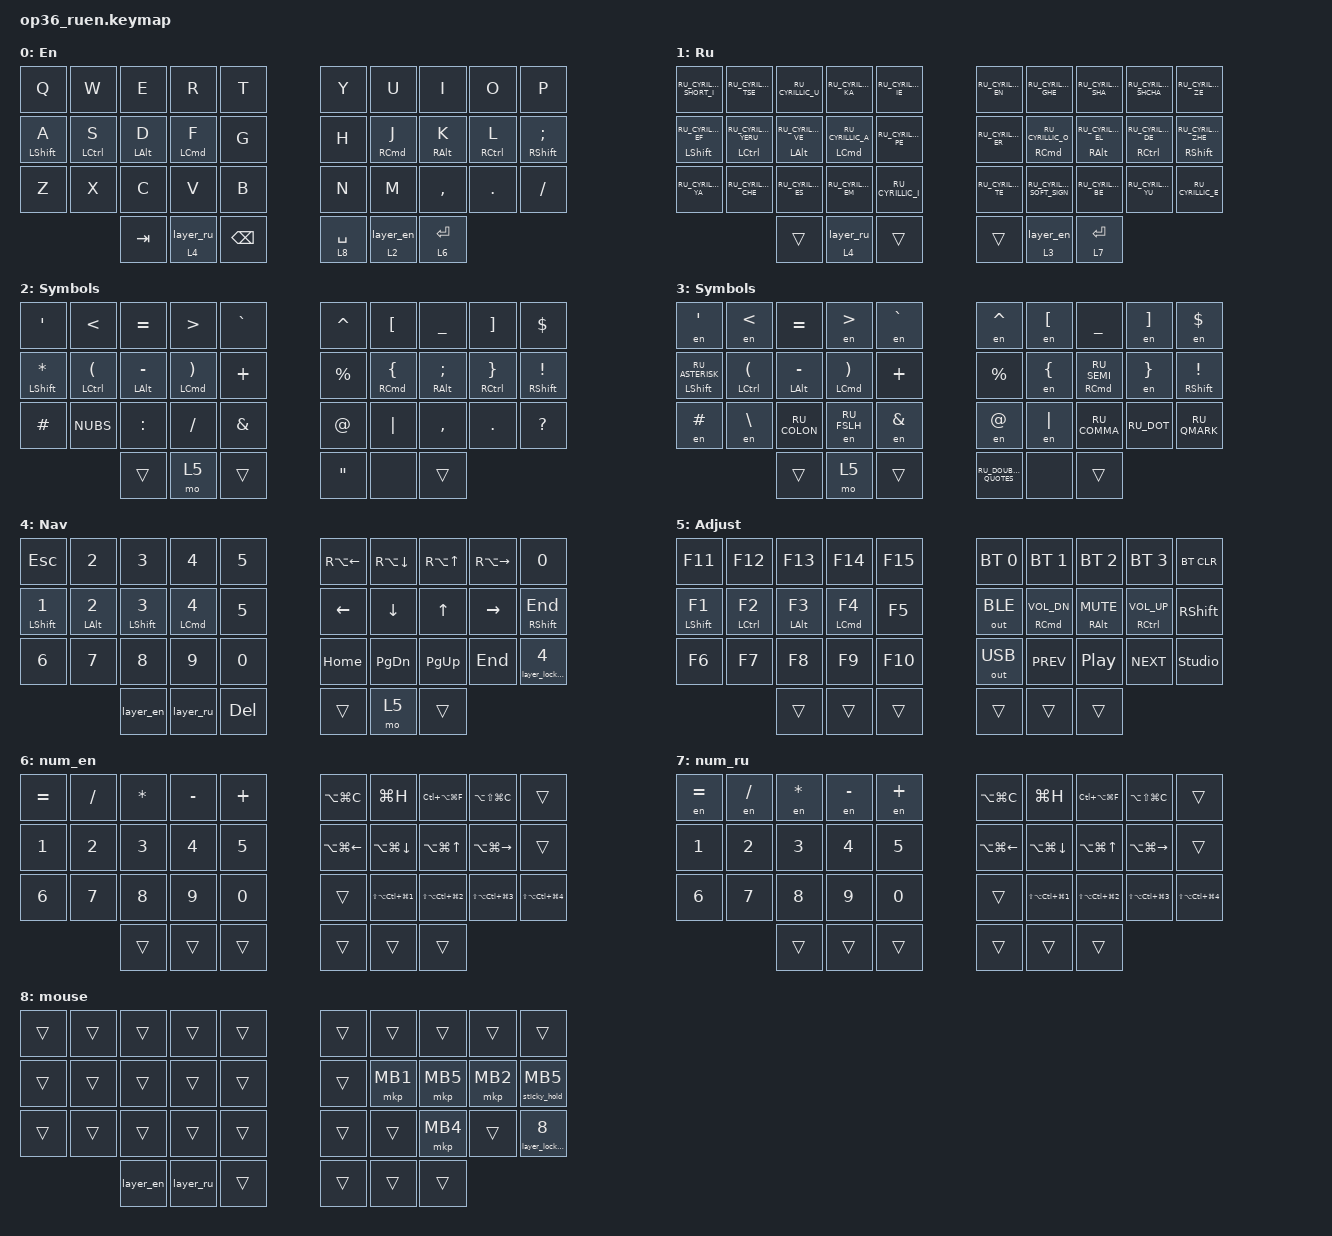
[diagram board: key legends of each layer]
#include "keys_ru.h"
#include "keys_ru.h"
#include <behaviors.dtsi>
#include <dt-bindings/zmk/bt.h>
#include <dt-bindings/zmk/keys.h>
#include <dt-bindings/zmk/outputs.h>
#include <dt-bindings/zmk/pointing.h>

&mt {
    quick-tap-ms = <200>;
    flavor = "tap-preferred";
    tapping-term-ms = <200>;
    require-prior-idle-ms = <125>;
    retro-tap;
};

/ {
    behaviors {
        hml: home_row_mod_left {
            compatible = "zmk,behavior-hold-tap";
            #binding-cells = <2>;
            flavor = "balanced";
            require-prior-idle-ms = <150>;
            tapping-term-ms = <280>;
            quick-tap-ms = <175>;
            bindings = <&kp>, <&kp>;

            hold-trigger-key-positions = <5 6 7 8 9 15 16 17 18 19 25 26 27 28 29 33 34 35>;
            hold-trigger-on-release;
        };

        hmr: home_row_mod_right {
            compatible = "zmk,behavior-hold-tap";
            #binding-cells = <2>;
            flavor = "balanced";
            require-prior-idle-ms = <150>;
            tapping-term-ms = <280>;
            quick-tap-ms = <175>;
            bindings = <&kp>, <&kp>;

            hold-trigger-key-positions = <0 1 2 3 4 10 11 12 13 14 20 21 22 23 24 30 31 32>;
            hold-trigger-on-release;
        };

        red_mo_ru: red_mo_ru {
            compatible = "zmk,behavior-hold-tap";
            label = "RED_MO_RU";
            bindings = <&mo>, <&layer_ru>;

            #binding-cells = <2>;
            tapping-term-ms = <200>;
            quick-tap-ms = <200>;
            hold-while-undecided;
        };

        blue_mo_en: blue_mo_en {
            compatible = "zmk,behavior-hold-tap";
            label = "BLUE_MO_EN";
            bindings = <&mo>, <&layer_en>;

            #binding-cells = <2>;
            tapping-term-ms = <200>;
            quick-tap-ms = <200>;
            hold-while-undecided;
        };

        layer_lock_on: layer_lock_on {
            compatible = "zmk,behavior-toggle-layer";
            label = "LAYER_LOCK_ON";
            #binding-cells = <1>;
            toggle-mode = "on";
        };

        sticky_hold: sticky_hold {
            compatible = "zmk,behavior-sticky-key";
            label = "STICKY_HOLD";
            bindings = <&mkp>;
            #binding-cells = <1>;
            release-after-ms = <10000000>;
            quick-release;
            ignore-modifiers;
        };
    };

    combos {
        compatible = "zmk,combos";

        kha {
            bindings = <&kp RU_CYRILLIC_HA>;
            key-positions = <6 7>;
            layers = <1>;
        };

        hrdsgn {
            bindings = <&kp RU_CYRILLIC_HARD_SIGN>;
            key-positions = <7 8>;
            layers = <1>;
        };

        pass {
            bindings = <&rgs_pass>;
            key-positions = <6 7 8 9>;
            layers = <1 0>;
        };

        round_brackets {
            bindings = <&pair_and_go_inside LPAR RPAR>;
            key-positions = <13 11>;
            layers = <2 3>;
        };

        curly_brackets {
            bindings = <&pair_and_go_inside LEFT_BRACE RIGHT_BRACE>;
            key-positions = <16 18>;
            layers = <2 3>;
        };

        angle_brackets {
            bindings = <&pair_and_go_inside LT GT>;
            key-positions = <3 1>;
            layers = <2 3>;
        };

        square_brackets {
            bindings = <&pair_and_go_inside LEFT_BRACKET RIGHT_BRACKET>;
            key-positions = <6 8>;
            layers = <2 3>;
        };

        remove_word_backspace {
            bindings = <&kp LA(BACKSPACE)>;
            key-positions = <32 31>;
            layers = <1 0>;
        };

        esc_combo {
            bindings = <&kp ESC>;
            key-positions = <30 31>;
        };
    };

    macros {
        to_ru: to_ru {
            compatible = "zmk,behavior-macro";
            #binding-cells = <0>;
            bindings = <&kp LS(LC(N2))>;
            label = "TO_RU";
            wait-ms = <0>;
            tap-ms = <30>;
        };

        to_en: to_en {
            compatible = "zmk,behavior-macro";
            #binding-cells = <0>;
            bindings = <&kp LS(LC(N1))>;
            label = "TO_EN";
            wait-ms = <0>;
            tap-ms = <30>;
        };

        layer_en: layer_en {
            compatible = "zmk,behavior-macro";
            #binding-cells = <0>;
            bindings = <&to 0 &to_en>;
            label = "LAYER_EN";
            wait-ms = <0>;
            tap-ms = <30>;
        };

        layer_ru: layer_ru {
            compatible = "zmk,behavior-macro";
            #binding-cells = <0>;
            bindings = <&to 1 &to_ru>;
            label = "LAYER_RU";
            tap-ms = <30>;
            wait-ms = <0>;
        };

        en: en {
            compatible = "zmk,behavior-macro-one-param";
            #binding-cells = <1>;
            bindings =
                <&to_en>,
                <&macro_press>,
                <&macro_param_1to1 &kp MACRO_PLACEHOLDER>,
                <&macro_pause_for_release>,
                <&macro_release>,
                <&macro_param_1to1 &kp MACRO_PLACEHOLDER>,
                <&macro_tap>,
                <&to_ru>;

            label = "EN";
            wait-ms = <0>;
            tap-ms = <30>;
        };

        pair_and_go_inside: pair_and_go_inside {
            compatible = "zmk,behavior-macro-two-param";
            #binding-cells = <2>;
            bindings = <&macro_param_1to1 &kp MACRO_PLACEHOLDER &macro_param_2to1 &kp MACRO_PLACEHOLDER &kp LEFT>;
            label = "PAIR_AND_GO_INSIDE";
        };

        rgs_pass: rgs_pass {
            compatible = "zmk,behavior-macro";
            #binding-cells = <0>;
            bindings = <&to_en &kp U &kp U &kp LS(S) &kp N4 &kp F &kp O &kp O &kp S &kp UNDER &kp LS(V) &kp LS(E) &kp R &kp G &kp S &kp N1>;
            label = "RGS_PASS";
        };
    };

    keymap {
        compatible = "zmk,keymap";

        en {
            bindings = <
  &kp Q              &kp W         &kp E            &kp R        &kp T                                         &kp Y            &kp U        &kp I             &kp O         &kp P
  &hml LEFT_SHIFT A  &hml LCTRL S  &hml LEFT_ALT D  &hml LCMD F  &kp G                                         &kp H            &hmr RCMD J  &hmr RIGHT_ALT K  &hmr RCTRL L  &hmr RIGHT_SHIFT SEMICOLON
  &kp Z              &kp X         &kp C            &kp V        &kp B                                         &kp N            &kp M        &kp COMMA         &kp DOT       &kp FSLH
                                                    &kp TAB      &red_mo_ru 4 0  &kp BACKSPACE    &lt 8 SPACE  &blue_mo_en 2 0  &lt 6 ENTER
            >;

            display-name = "En";
        };

        ru {
            bindings = <
  &kp RU_CYRILLIC_SHORT_I         &kp RU_CYRILLIC_TSE          &kp RU_CYRILLIC_U             &kp RU_CYRILLIC_KA       &kp RU_CYRILLIC_IE                    &kp RU_CYRILLIC_EN  &kp RU_CYRILLIC_GHE        &kp RU_CYRILLIC_SHA            &kp RU_CYRILLIC_SHCHA      &kp RU_CYRILLIC_ZE
  &hml LEFT_SHIFT RU_CYRILLIC_EF  &hml LCTRL RU_CYRILLIC_YERU  &hml LEFT_ALT RU_CYRILLIC_VE  &hml LCMD RU_CYRILLIC_A  &kp RU_CYRILLIC_PE                    &kp RU_CYRILLIC_ER  &hmr RCMD RU_CYRILLIC_O    &hmr RIGHT_ALT RU_CYRILLIC_EL  &hmr RCTRL RU_CYRILLIC_DE  &hmr RIGHT_SHIFT RU_CYRILLIC_ZHE
  &kp RU_CYRILLIC_YA              &kp RU_CYRILLIC_CHE          &kp RU_CYRILLIC_ES            &kp RU_CYRILLIC_EM       &kp RU_CYRILLIC_I                     &kp RU_CYRILLIC_TE  &kp RU_CYRILLIC_SOFT_SIGN  &kp RU_CYRILLIC_BE             &kp RU_CYRILLIC_YU         &kp RU_CYRILLIC_E
                                                                                             &trans                   &red_mo_ru 4 0      &trans    &trans  &blue_mo_en 3 0     &lt 7 ENTER
            >;

            display-name = "Ru";
        };

        sym_en {
            bindings = <
  &kp SINGLE_QUOTE      &kp LT           &kp EQUAL            &kp GT          &kp GRAVE                               &kp CARET  &kp LBKT        &kp UNDER            &kp RBKT         &kp DLLR
  &hml LEFT_SHIFT STAR  &hml LCTRL LPAR  &hml LEFT_ALT MINUS  &hml LCMD RPAR  &kp PLUS                                &kp PRCNT  &hmr RCMD LBRC  &hmr RIGHT_ALT SEMI  &hmr RCTRL RBRC  &hmr RIGHT_SHIFT EXCL
  &kp HASH              &kp NUBS         &kp COLON            &kp FSLH        &kp AMPS                                &kp AT     &kp PIPE        &kp COMMA            &kp DOT          &kp QMARK
                                                              &trans          &mo 5      &trans    &kp DOUBLE_QUOTES  &none      &trans
            >;

            display-name = "Symbols";
        };

        sym_ru {
            bindings = <
  &en SINGLE_QUOTE             &en LT           &kp EQUAL            &en GT          &en GRAVE                                  &en CARET  &en LBKT  &kp UNDER          &en RBKT    &en DLLR
  &hml LEFT_SHIFT RU_ASTERISK  &hml LCTRL LPAR  &hml LEFT_ALT MINUS  &hml LCMD RPAR  &kp PLUS                                   &kp PRCNT  &en LBRC  &hmr RCMD RU_SEMI  &en RBRC    &hmr RIGHT_SHIFT EXCL
  &en HASH                     &en BSLH         &kp RU_COLON         &en RU_FSLH     &en AMPS                                   &en AT     &en PIPE  &kp RU_COMMA       &kp RU_DOT  &kp RU_QMARK
                                                                     &trans          &mo 5      &trans    &kp RU_DOUBLE_QUOTES  &none      &trans
            >;

            display-name = "Symbols";
        };

        nav {
            bindings = <
  &kp ESC             &kp N2        &kp N3         &kp N4        &kp N5                           &kp RA(LEFT)  &kp RA(DOWN)   &kp RA(UP)   &kp RA(RIGHT)  &kp N0
  &hml LEFT_SHIFT N1  &hml LALT N2  &hml LSHFT N3  &hml LCMD N4  &kp NUMBER_5                     &kp LEFT      &kp DOWN       &kp UP       &kp RIGHT      &hmr RIGHT_SHIFT END
  &kp N6              &kp N7        &kp N8         &kp N9        &kp N0                           &kp HOME      &kp PAGE_DOWN  &kp PAGE_UP  &kp END        &layer_lock_on 4
                                                   &layer_en     &layer_ru     &kp DEL    &trans  &mo 5         &trans
            >;

            display-name = "Nav";
        };

        adj {
            bindings = <
  &kp F11             &kp F12        &kp F13           &kp F14       &kp F15                    &bt BT_SEL 0  &bt BT_SEL 1        &bt BT_SEL 2           &bt BT_SEL 3         &bt BT_CLR
  &hml LEFT_SHIFT F1  &hml LCTRL F2  &hml LEFT_ALT F3  &hml LCMD F4  &kp F5                     &out OUT_BLE  &hmr RCMD C_VOL_DN  &hmr RIGHT_ALT C_MUTE  &hmr RCTRL C_VOL_UP  &kp RIGHT_SHIFT
  &kp F6              &kp F7         &kp F8            &kp F9        &kp F10                    &out OUT_USB  &kp C_PREV          &kp C_PP               &kp C_NEXT           &studio_unlock
                                                       &trans        &trans   &trans    &trans  &trans        &trans
            >;

            display-name = "Adjust";
        };

        num_en {
            bindings = <
  &kp EQUAL  &kp FSLH  &kp STAR  &kp MINUS  &kp PLUS                    &kp LA(LG(C))     &kp LG(H)                     &kp LC(LA(LG(F)))             &kp LA(LS(LG(C)))             &trans
  &kp N1     &kp N2    &kp N3    &kp N4     &kp N5                      &kp LA(LG(LEFT))  &kp LA(LG(DOWN))              &kp LA(LG(UP_ARROW))          &kp LA(LG(RIGHT))             &trans
  &kp N6     &kp N7    &kp N8    &kp N9     &kp N0                      &trans            &kp LS(LA(LC(LG(NUMBER_1))))  &kp LS(LA(LC(LG(NUMBER_2))))  &kp LS(LA(LC(LG(NUMBER_3))))  &kp LS(LA(LC(LG(N4))))
                                 &trans     &trans    &trans    &trans  &trans            &trans
            >;

            display-name = "num_en";
        };

        num_ru {
            bindings = <
  &en EQUAL  &en FSLH  &en STAR  &en MINUS  &en PLUS                    &kp LA(LG(C))     &kp LG(H)                     &kp LC(LA(LG(F)))             &kp LA(LS(LG(C)))             &trans
  &kp N1     &kp N2    &kp N3    &kp N4     &kp N5                      &kp LA(LG(LEFT))  &kp LA(LG(DOWN))              &kp LA(LG(UP_ARROW))          &kp LA(LG(RIGHT))             &trans
  &kp N6     &kp N7    &kp N8    &kp N9     &kp N0                      &trans            &kp LS(LA(LC(LG(NUMBER_1))))  &kp LS(LA(LC(LG(NUMBER_2))))  &kp LS(LA(LC(LG(NUMBER_3))))  &kp LS(LA(LC(LG(N4))))
                                 &trans     &trans    &trans    &trans  &trans            &trans
            >;

            display-name = "num_ru";
        };

        mouse {
            bindings = <
  &trans  &trans  &trans  &trans     &trans                       &trans  &trans    &trans    &trans    &trans
  &trans  &trans  &trans  &trans     &trans                       &trans  &mkp MB1  &mkp MB5  &mkp MB2  &sticky_hold MB5
  &trans  &trans  &trans  &trans     &trans                       &trans  &trans    &mkp MB4  &trans    &layer_lock_on 8
                          &layer_en  &layer_ru  &trans    &trans  &trans  &trans
            >;

            label = "mouse";
        };
    };
};
